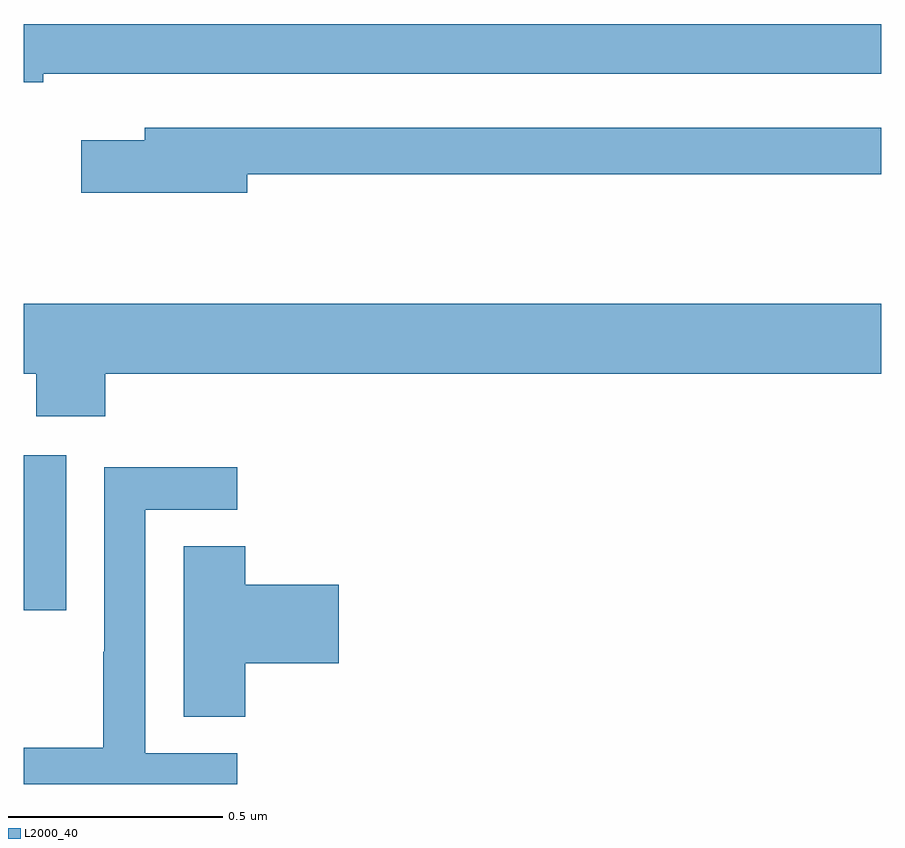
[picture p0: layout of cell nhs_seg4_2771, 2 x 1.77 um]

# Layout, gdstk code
import gdstk
lib = gdstk.Library(unit=1e-6, precision=1e-09)
def R(c, l, rs):  # rectangles x0, y0, x1, y1
    for r in rs: c.add(gdstk.rectangle(r[:2], r[2:], *l))
def P(c, l, *ps):  # polygons
    for p in ps: c.add(gdstk.Polygon(p, *l))
L2000_40 = (2000, 40)

nhs_seg4_2771 = lib.new_cell('nhs_seg4_2771')
R(nhs_seg4_2771, L2000_40, [(145,760.305,145.099,760.666)])
P(nhs_seg4_2771, L2000_40, [(145.046,761.556),(147,761.556),(147,761.672),(145,761.672),(145,761.536),(145.046,761.536)],
  [(145.522,761.322),(147,761.322),(147,761.43),(145.283,761.43),(145.283,761.401),(145.134,761.401),(145.134,761.279),(145.522,761.279)],
  [(145.19,760.856),(147,760.856),(147,761.02),(145,761.02),(145,760.856),(145.03,760.856),(145.03,760.757),(145.19,760.757)],
  [(145.498,759.972),(145.284,759.972),(145.284,760.539),(145.498,760.539),(145.498,760.638),(145.188,760.638),(145.188,760.208),(145.186,760.208),(145.186,759.985),(145,759.985),(145,759.9),(145.498,759.9)],
  [(145.517,760.181),(145.735,760.181),(145.735,760.364),(145.517,760.364),(145.517,760.454),(145.373,760.454),(145.373,760.057),(145.517,760.057)])

lib.write_gds('nhs_seg4_2771.gds')
